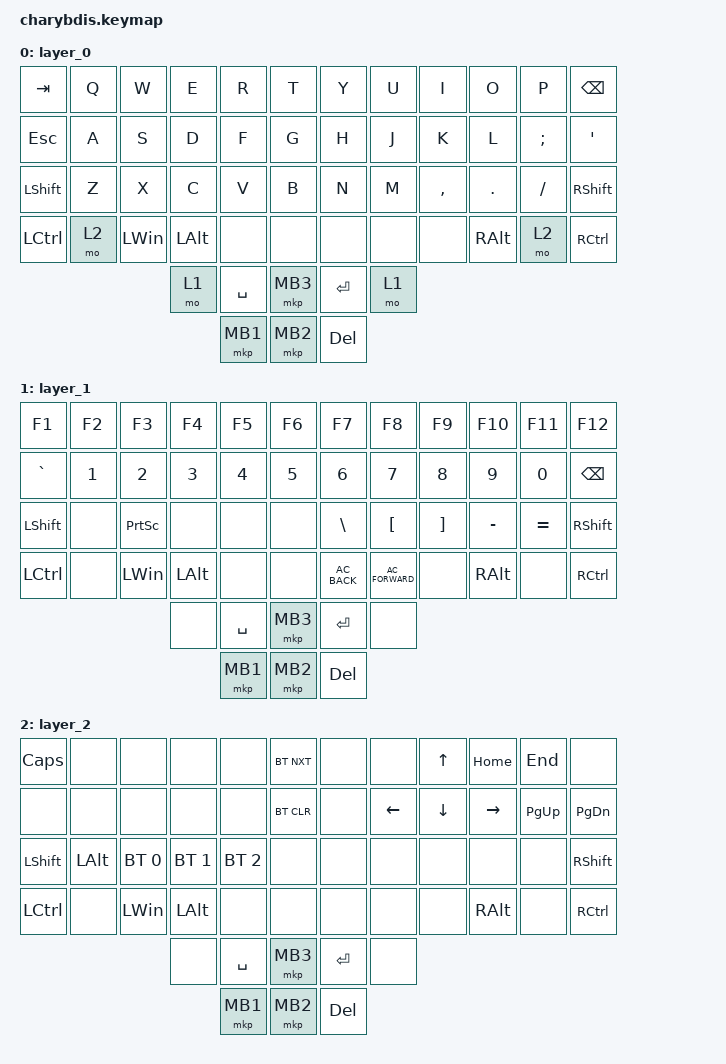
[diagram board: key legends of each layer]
#include <dt-bindings/zmk/mouse.h>
#include <behaviors.dtsi>
#include <dt-bindings/zmk/bt.h>
#include <dt-bindings/zmk/keys.h>
#include <dt-bindings/zmk/pointing.h>

&lt {
    tapping-term-ms = <200>;
    flavor = "balanced";
    quick-tap-ms = <150>;
};

/ {
    keymap {
        compatible = "zmk,keymap";

        layer_0 {
           bindings = <
&kp TAB         &kp Q  &kp W         &kp E     &kp R      &kp T       &kp Y       &kp U  &kp I      &kp O       &kp P     &kp BSPC
&kp ESC         &kp A  &kp S         &kp D     &kp F      &kp G       &kp H       &kp J  &kp K      &kp L       &kp SEMI  &kp SQT
&kp LEFT_SHIFT  &kp Z  &kp X         &kp C     &kp V      &kp B       &kp N       &kp M  &kp COMMA  &kp PERIOD  &kp FSLH  &kp RIGHT_SHIFT
&kp LCTRL       &mo 2  &kp LEFT_WIN  &kp LALT  &none      &none       &none       &none  &none      &kp RALT    &mo 2     &kp RCTRL
                                     &mo 1     &kp SPACE  &mkp MB3    &kp ENTER   &mo 1
                                               &mkp MB1   &mkp MB2    &kp DELETE
            >;

            trackball-bindings = <&tmv_coarse>;
        };

        layer_1 {
            bindings = <
&kp F1          &kp F2  &kp F3        &kp F4    &kp F5     &kp F6      &kp F7         &kp F8            &kp F9             &kp F10    &kp F11    &kp F12
&kp GRAVE       &kp N1  &kp N2        &kp N3    &kp N4     &kp N5      &kp N6         &kp N7            &kp N8             &kp N9     &kp N0     &kp BSPC
&kp LEFT_SHIFT  &none   &kp PSCRN     &none     &none      &none       &kp BSLH       &kp LEFT_BRACKET  &kp RIGHT_BRACKET  &kp MINUS  &kp EQUAL  &kp RIGHT_SHIFT
&kp LCTRL       &none   &kp LEFT_WIN  &kp LALT  &none      &none       &kp C_AC_BACK  &kp C_AC_FORWARD  &none              &kp RALT   &none      &kp RCTRL
                                      &none     &kp SPACE  &mkp MB3    &kp ENTER      &none
                                                &mkp MB1   &mkp MB2    &kp DELETE
            >;

            trackball-bindings = <&tsl>;
        };

        layer_2 {
            bindings = <
&kp CAPS        &none      &none         &none         &none         &bt BT_NXT    &none       &none     &kp UP    &kp HOME   &kp END    &none
&none           &none      &none         &none         &none         &bt BT_CLR    &none       &kp LEFT  &kp DOWN  &kp RIGHT  &kp PG_UP  &kp PG_DN
&kp LEFT_SHIFT  &kp LALT   &bt BT_SEL 0  &bt BT_SEL 1  &bt BT_SEL 2  &none         &none       &none     &none     &none      &none      &kp RIGHT_SHIFT
&kp LCTRL       &none      &kp LEFT_WIN  &kp LALT      &none         &none         &none       &none     &none     &kp RALT   &none      &kp RCTRL
                                         &none         &kp SPACE     &mkp MB3      &kp ENTER   &none
                                                       &mkp MB1      &mkp MB2      &kp DELETE
            >;

            trackball-bindings = <&tsl>;
        };
    };
};
